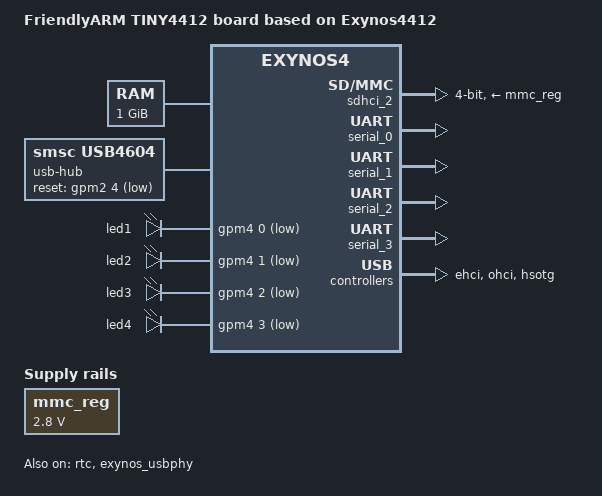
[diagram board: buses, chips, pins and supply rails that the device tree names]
/*
 * FriendlyARM's Exynos4412 based TINY4412 board device tree source
 *
 * Copyright (c) 2013 Alex Ling <kasimling@gmail.com>
 *
 * Device tree source file for FriendlyARM's TINY4412 board which is based on
 * Samsung's Exynos4412 SoC.
 *
 * This program is free software; you can redistribute it and/or modify
 * it under the terms of the GNU General Public License version 2 as
 * published by the Free Software Foundation.
*/

/dts-v1/;
#include "exynos4412.dtsi"
#include <dt-bindings/gpio/gpio.h>
#include <dt-bindings/usb4604/usb4604.h>

/ {
	model = "FriendlyARM TINY4412 board based on Exynos4412";
	compatible = "friendlyarm,tiny4412", "samsung,exynos4412", "samsung,exynos4";

	chosen {
		stdout-path = &serial_0;
		bootargs = "root=/dev/ram0 rw rootfstype=ext4 console=ttySAC0,115200 init=/linuxrc earlyprintk";
	};

	memory@40000000 {
		device_type = "memory";
		reg = <0x40000000 0x40000000>;
	};

    	usb-hub {
        	compatible = "smsc,usb4604";
		reset-gpios = <&gpm2 4 GPIO_ACTIVE_LOW>;
        	initial-mode = <USB4604_MODE_HUB>;
    	};

	regulators {
    		compatible = "simple-bus";
    		#address-cells = <1>;
    		#size-cells = <0>;

   		mmc_reg: regulator@0{
        		compatible = "regulator-fixed";
        		reg = <0>;
        		regulator-name = "VMEM_VDD_2.8V";
        		regulator-min-microvolt = <2800000>;
        		regulator-max-microvolt = <2800000>;
    		};
	};

	leds {
		compatible = "gpio-leds";

		led1 {
			label = "led1";
			gpios = <&gpm4 0 GPIO_ACTIVE_LOW>;
			default-state = "off";
			linux,default-trigger = "heartbeat";
		};

		led2 {
			label = "led2";
			gpios = <&gpm4 1 GPIO_ACTIVE_LOW>;
			default-state = "off";
		};

		led3 {
			label = "led3";
			gpios = <&gpm4 2 GPIO_ACTIVE_LOW>;
			default-state = "off";
		};

		led4 {
			label = "led4";
			gpios = <&gpm4 3 GPIO_ACTIVE_LOW>;
			default-state = "off";
			linux,default-trigger = "mmc0";
		};
	};

	fixed-rate-clocks {
		xxti {
			compatible = "samsung,clock-xxti";
			clock-frequency = <0>;
		};

		xusbxti {
			compatible = "samsung,clock-xusbxti";
			clock-frequency = <24000000>;
		};
	};

	backlight_demo@139D0000{
        	compatible = "tiny4412,backlight";
        	reg = <0x139D0000  0x14>;
        	tiny4412,backlight = <&gpx1 2 GPIO_ACTIVE_HIGH>;
        	pinctrl-names = "backlight_out","backlight_in";
        	pinctrl-0 = <&backlight_out>;
        	pinctrl-1 = <&backlight_in>;
       		interrupts = <0 40 0>;
        	clocks = <&clock CLK_PWM>;
        	clock-names = "timers";
        };
};

&rtc {
	status = "okay";
};

&sdhci_2 {
	bus-width = <4>;
	pinctrl-0 = <&sd2_clk &sd2_cmd &sd2_cd &sd2_bus4>;
	pinctrl-names = "default";
	vmmc-supply = <&mmc_reg>;
	status = "okay";
};

&serial_0 {
	status = "okay";
};

&serial_1 {
	status = "okay";
};

&serial_2 {
	status = "okay";
};

&serial_3 {
	status = "okay";
};


&exynos_usbphy {
    status = "okay";
};

&ehci {
    status = "okay";
    port@0 {
        status = "okay";
    };
    port@1 {
        status = "okay";
    };
    port@2 {
        status = "okay";
    };
};

&ohci {
    status = "okay";
    port@0 {
        status = "okay";
    };
};

&hsotg {
    status = "okay";
};


&pinctrl_1 {
        backlight_out: backlight_out{
                samsung,pins = "gpx1-2";
                samsung,pin-function = <1>;
                samsung,pin-pud = <0>;
                samsung,pin-drv = <0>;
        };
         backlight_in: backlight_in{
                samsung,pins = "gpx1-2";
                samsung,pin-function = <0>;
                samsung,pin-pud = <0>;
                samsung,pin-drv = <0>;
        };
};




